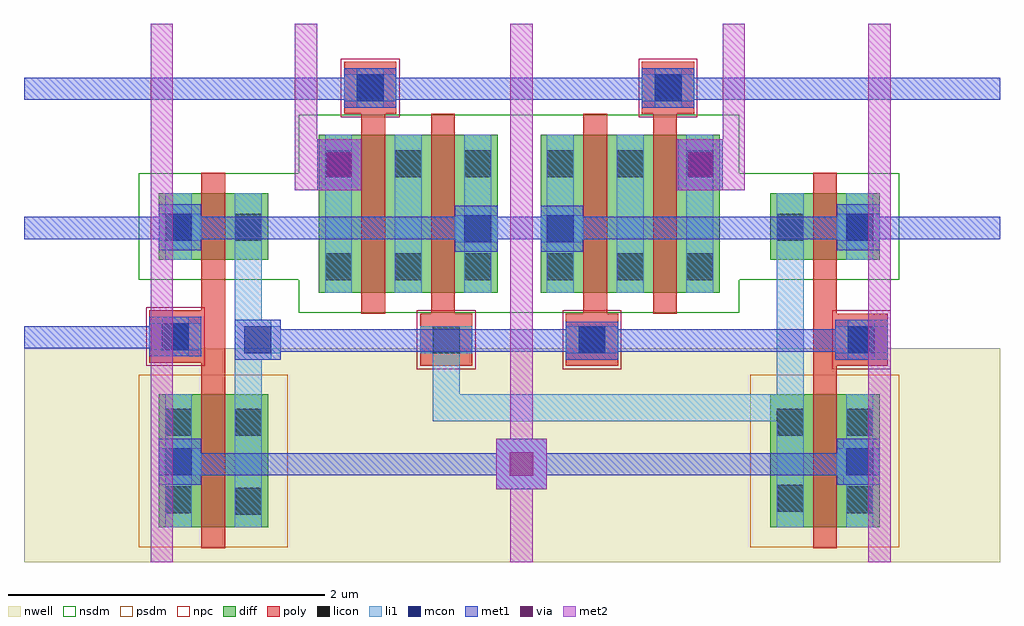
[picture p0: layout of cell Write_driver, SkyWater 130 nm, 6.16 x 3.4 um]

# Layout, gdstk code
import gdstk
lib = gdstk.Library(unit=1e-6, precision=1e-09)
def R(c, l, rs):  # rectangles x0, y0, x1, y1
    for r in rs: c.add(gdstk.rectangle(r[:2], r[2:], *l))
def A(c, l, x, y, w, h, nx, ny, dx, dy):  # array of equal rectangles
    R(c, l, [(x+i*dx, y+j*dy, x+i*dx+w, y+j*dy+h) for i in range(nx) for j in range(ny)])
nwell = (64, 20)
diff = (65, 20)
poly = (66, 20)
licon = (66, 44)
li1 = (67, 20)
mcon = (67, 44)
met1 = (68, 20)
via = (68, 44)
met2 = (69, 20)
nsdm = (93, 44)
psdm = (94, 20)
npc = (95, 20)

write_driver = lib.new_cell('Write_driver')
R(write_driver, nwell, [(2.37,-4.65,8.53,-3.3)])
R(write_driver, diff, [(3.22,-4.43,3.91,-3.59), (7.08,-4.43,7.77,-3.59), (4.23,-2.95,5.36,-1.95), (5.63,-2.95,6.76,-1.95), (3.22,-2.74,3.91,-2.32), (7.08,-2.74,7.77,-2.32)])
R(write_driver, poly, [(3.49,-4.56,3.64,-3.39), (7.35,-4.56,7.5,-3.41), (4.87,-3.41,5.2,-3.08), (5.79,-3.41,6.12,-3.08), (7.35,-3.41,7.82,-3.08), (3.16,-3.39,3.64,-3.06), (4.5,-3.08,4.65,-1.82), (4.94,-3.08,5.09,-1.82), (5.9,-3.08,6.05,-1.82), (6.34,-3.08,6.49,-1.82), (7.35,-3.08,7.5,-2.19), (3.49,-3.06,3.64,-2.19), (4.39,-1.82,4.72,-1.49), (6.27,-1.82,6.6,-1.49)])
A(write_driver, licon, 4.27, -2.87, 0.17, 0.17, 3, 2, 0.44, 0.65)
A(write_driver, licon, 5.67, -2.87, 0.17, 0.17, 3, 2, 0.44, 0.65)
R(write_driver, licon, [(3.7,-4.35,3.87,-4.18), (3.26,-4.34,3.43,-4.17), (7.56,-4.34,7.73,-4.17), (7.12,-4.33,7.29,-4.16), (3.26,-3.85,3.43,-3.68), (3.7,-3.85,3.87,-3.68), (7.12,-3.85,7.29,-3.68), (7.56,-3.85,7.73,-3.68), (4.95,-3.33,5.12,-3.16), (5.87,-3.33,6.04,-3.16), (7.57,-3.33,7.74,-3.16), (3.24,-3.31,3.41,-3.14), (3.26,-2.62,3.43,-2.45), (3.7,-2.62,3.87,-2.45), (7.12,-2.62,7.29,-2.45), (7.56,-2.62,7.73,-2.45), (4.47,-1.74,4.64,-1.57), (6.35,-1.74,6.52,-1.57)])
R(write_driver, li1, [(3.26,-4.43,3.43,-4.1), (3.7,-4.43,3.87,-3.37), (7.12,-4.43,7.29,-3.76), (7.56,-4.43,7.73,-4.16), (7.54,-4.16,7.73,-4.1), (3.22,-4.1,3.49,-3.93), (7.5,-4.1,7.77,-3.93), (3.26,-3.93,3.43,-3.59), (7.54,-3.93,7.73,-3.87), (7.56,-3.87,7.73,-3.59), (4.95,-3.76,7.29,-3.59), (4.95,-3.59,5.12,-3.33), (7.12,-3.59,7.29,-2.32), (3.7,-3.37,3.93,-3.33), (7.57,-3.37,7.74,-3.33), (3.24,-3.35,3.41,-3.31), (3.7,-3.33,3.99,-3.16), (4.87,-3.33,5.2,-3.16), (5.79,-3.33,6.12,-3.16), (7.49,-3.33,7.82,-3.16), (3.16,-3.31,3.49,-3.14), (3.7,-3.16,3.93,-3.12), (7.57,-3.16,7.74,-3.12), (3.24,-3.14,3.41,-3.1), (3.7,-3.12,3.87,-2.32), (4.27,-2.95,4.44,-1.95), (4.71,-2.95,4.88,-1.95), (5.15,-2.95,5.32,-2.63), (5.67,-2.95,5.84,-2.63), (6.11,-2.95,6.28,-1.95), (6.55,-2.95,6.72,-1.95), (3.26,-2.74,3.43,-2.62), (7.56,-2.74,7.73,-2.62), (5.09,-2.63,5.36,-2.46), (5.63,-2.63,5.9,-2.46), (3.22,-2.62,3.49,-2.45), (7.5,-2.62,7.77,-2.45), (5.15,-2.46,5.32,-1.95), (5.67,-2.46,5.84,-1.95), (3.26,-2.45,3.43,-2.32), (7.56,-2.45,7.73,-2.32), (4.47,-1.78,4.64,-1.74), (6.35,-1.78,6.52,-1.74), (4.39,-1.74,4.72,-1.57), (6.27,-1.74,6.6,-1.57), (4.47,-1.57,4.64,-1.53), (6.35,-1.57,6.52,-1.53)])
R(write_driver, mcon, [(3.26,-4.1,3.43,-3.93), (7.56,-4.1,7.73,-3.93), (3.76,-3.33,3.93,-3.16), (5.87,-3.33,6.04,-3.16), (7.57,-3.33,7.74,-3.16), (3.24,-3.31,3.41,-3.14), (5.15,-2.63,5.32,-2.46), (5.67,-2.63,5.84,-2.46), (3.26,-2.62,3.43,-2.45), (7.56,-2.62,7.73,-2.45), (4.27,-2.22,4.44,-2.05), (6.55,-2.22,6.72,-2.05), (4.47,-1.74,4.64,-1.57), (6.35,-1.74,6.52,-1.57)])
R(write_driver, met1, [(5.35,-4.19,5.67,-4.1), (3.22,-4.16,3.49,-4.1), (7.5,-4.16,7.77,-4.1), (3.22,-4.1,7.77,-3.96), (3.22,-3.96,3.49,-3.87), (5.35,-3.96,5.67,-3.87), (7.5,-3.96,7.77,-3.87), (3.7,-3.37,3.99,-3.32), (5.79,-3.37,6.12,-3.32), (7.49,-3.37,7.82,-3.32), (3.16,-3.35,3.49,-3.3), (3.7,-3.32,7.82,-3.18), (2.37,-3.3,3.49,-3.16), (3.7,-3.18,3.99,-3.12), (5.79,-3.18,6.12,-3.13), (7.49,-3.18,7.82,-3.12), (3.16,-3.16,3.49,-3.1), (5.09,-2.69,5.36,-2.61), (5.63,-2.69,5.9,-2.61), (3.22,-2.68,3.49,-2.61), (7.5,-2.68,7.77,-2.61), (2.37,-2.61,8.53,-2.47), (3.22,-2.47,3.49,-2.39), (5.09,-2.47,5.36,-2.4), (5.63,-2.47,5.9,-2.4), (7.5,-2.47,7.77,-2.39), (4.22,-2.3,4.5,-1.98), (6.5,-2.3,6.78,-1.98), (4.39,-1.78,4.72,-1.73), (6.27,-1.78,6.6,-1.73), (2.37,-1.73,8.53,-1.59), (4.39,-1.59,4.72,-1.53), (6.27,-1.59,6.6,-1.53)])
R(write_driver, via, [(5.435,-4.105,5.585,-3.955), (4.285,-2.215,4.435,-2.065), (6.565,-2.215,6.715,-2.065)])
R(write_driver, met2, [(3.17,-4.65,3.31,-1.25), (5.44,-4.65,5.58,-4.19), (7.7,-4.65,7.84,-1.25), (5.35,-4.19,5.67,-3.87), (5.44,-3.87,5.58,-1.25), (4.08,-2.3,4.5,-1.98), (6.49,-2.3,6.92,-1.98), (4.08,-1.98,4.22,-1.25), (6.78,-1.98,6.92,-1.25)])
R(write_driver, nsdm, [(4.105,-3.075,6.885,-2.865), (3.095,-2.865,7.895,-2.195), (4.105,-2.195,6.885,-1.825)])
R(write_driver, psdm, [(3.095,-4.555,4.035,-3.465), (6.955,-4.555,7.895,-3.465)])
R(write_driver, npc, [(4.85,-3.43,5.22,-3.06), (5.77,-3.43,6.14,-3.06), (7.47,-3.43,7.84,-3.06), (3.14,-3.41,3.51,-3.04), (4.37,-1.84,4.74,-1.47), (6.25,-1.84,6.62,-1.47)])

lib.write_gds('Write_driver.gds')
